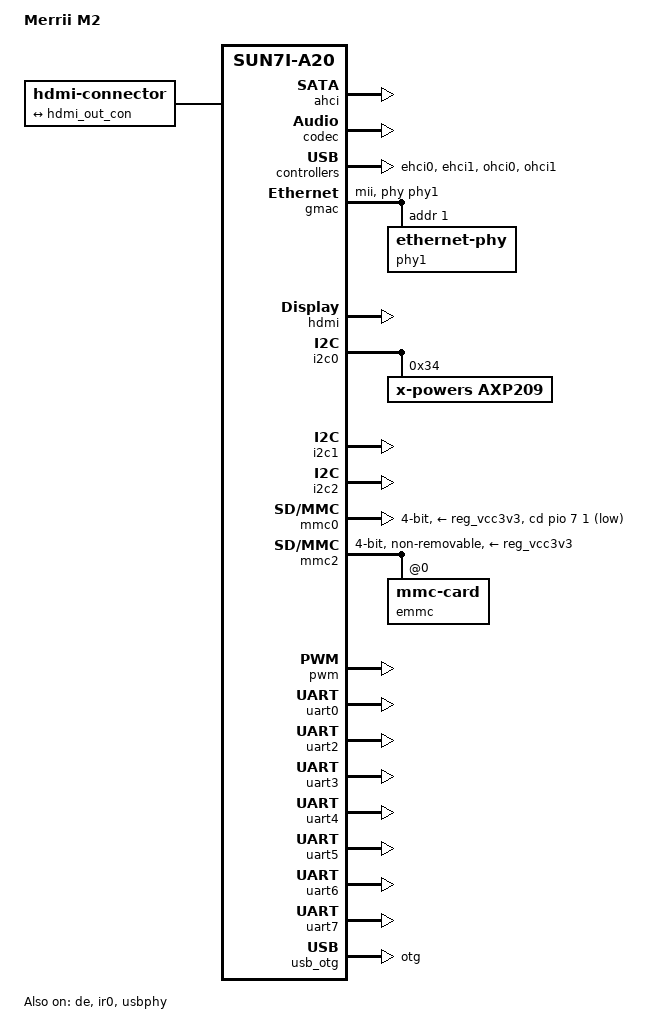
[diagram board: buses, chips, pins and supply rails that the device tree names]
/dts-v1/;
#include "sun7i-a20.dtsi"
#include "sunxi-common-regulators.dtsi"

#include <dt-bindings/gpio/gpio.h>
#include <dt-bindings/interrupt-controller/irq.h>

/ {
	model = "Merrii M2";
	compatible = "merrii,m2", "allwinner,sun7i-a20";

	aliases {
		serial0 = &uart0;
	};

	chosen {
		stdout-path = "serial0:115200n8";
	};

	hdmi-connector {
		compatible = "hdmi-connector";
		type = "a";

		port {
			hdmi_con_in: endpoint {
				remote-endpoint = <&hdmi_out_con>;
			};
		};
	};
/*
	sound {
		compatible = "simple-audio-card";
		simple-audio-card,name = "On-board SPDIF";

		simple-audio-card,cpu {
			sound-dai = <&spdif>;
		};

		simple-audio-card,codec {
			sound-dai = <&spdif_out>;
		};
	};

	spdif_out: spdif-out {
		#sound-dai-cells = <0>;
		compatible = "linux,spdif-dit";
	};
*/

};

&cpu0 {
	operating-points = <
	/* kHz	  uV */
	1080000	1450000
	912000	1400000
	864000	1300000
	792000	1250000
	720000	1200000
	624000	1150000
	528000	1100000
	312000	1050000
	>;
};

&cpu1 {
	operating-points = <
	/* kHz	  uV */
	1080000	1450000
	912000	1400000
	864000	1300000
	792000	1250000
	720000	1200000
	624000	1150000
	528000	1100000
	312000	1050000
	>;
};

&ahci {
	target-supply = <&reg_ahci_5v>;
	status = "okay";
};

&de {
	status = "okay";
};

&codec {
	allwinner,pa = <&pio 7 25 GPIO_ACTIVE_HIGH>;
	allwinner,pa-gpios = <&pio 7 25 GPIO_ACTIVE_HIGH>;
	status = "okay";
};

&ehci0 {
	status = "okay";
};

&ehci1 {
	status = "okay";
};

&otg_sram {
	status = "okay";
};

&gmac {
	pinctrl-names = "default";
	pinctrl-0 = <&gmac_mii_pins>;
	phy = <&phy1>;
	phy-mode = "mii";
	status = "okay";
};

&gmac {
        phy1: ethernet-phy@1 {
                reg = <1>;
        };
};

&hdmi {
	status = "okay";
};

&hdmi_out {
	hdmi_out_con: endpoint {
		remote-endpoint = <&hdmi_con_in>;
	};
};

/* I2C
* NO: SCL,	SDA
*  0: PB00, PB01
*  1: PB18, PB19
*  2: PB20, PB21
*  3: PI00, PI01
*  4: PI02, PI03
*/

&pio {
	/omit-if-no-ref/
	i2c4_pins: i2c4-pins {
		pins = "PI2", "PI3";
		function = "i2c4";
	};
};

&i2c0 {
	status = "okay";

	axp209: pmic@34 {
		compatible = "x-powers,axp209";
		reg = <0x34>;
		interrupt-parent = <&nmi_intc>;
		interrupts = <0 IRQ_TYPE_LEVEL_LOW>;

		interrupt-controller;
		#interrupt-cells = <1>;
	};
};

&i2c1 {
	status = "okay";
};

// touch screen
&i2c2 {
	status = "okay";
};

/*
&i2c3 {
	status = "okay";
};

&i2c4 {
	pinctrl-0 = <&i2c4_pins>;
	status = "okay";
};
*/

/*
// PH02 IRQ_TYPE_LEVEL_LOW / GPIO_ACTIVE_LOW
#include "axp209.dtsi"

&ac_power_supply {
	status = "okay";
};

/*
&i2s2 {
	status = "okay";
};
*/

// maybe useful for i2s2
/*
&spi2 {
	pinctrl-names = "default";
	pinctrl-0 = <&spi2_pb_pins>,
		    <&spi2_cs0_pb_pin>;
	status = "okay";
};
*/

&ir0 {
	pinctrl-names = "default";
	pinctrl-0 = <&ir0_rx_pin>;
	status = "okay";
};

&mmc0 {
	vmmc-supply = <&reg_vcc3v3>;
	bus-width = <4>;
	cd-gpios = <&pio 7 1 GPIO_ACTIVE_LOW>; /* PH1 */
	status = "okay";
};

&mmc2 {
	vmmc-supply = <&reg_vcc3v3>;
	vqmmc-supply = <&reg_vcc3v3>;
	bus-width = <4>;
	non-removable;
	// mmc-pwrseq = <&mmc2_pwrseq>;
	status = "okay";

	emmc: emmc@0 {
		reg = <0>;
		compatible = "mmc-card";
		broken-hpi;
	};
};

&pwm {
      pinctrl-names = "default";
      pinctrl-0 = <&pwm0_pin>, <&pwm1_pin>;
      status = "okay";
};

&ohci0 {
	status = "okay";
};

&ohci1 {
	status = "okay";
};

&reg_ahci_5v {
	gpio = <&pio 7 12 GPIO_ACTIVE_HIGH>;
	status = "okay";
};

&reg_usb1_vbus {
	status = "okay";
};

&reg_usb2_vbus {
	status = "okay";
};

/*
&spdif {
	pinctrl-names = "default";
	pinctrl-0 = <&spdif_tx_pin>;
	status = "disabled";
};
*/

/* UART
* NO: TX,	RX	, RTS,	CTS
*  0: PB22, PB23
*  1: 
*  2: PI18, PI19
*  3: PG06, PG07, PG08, PG09
*  4: PG10, PG11
*  5: PI10, PI11
*  6: PI12, PI13
*/

&uart0 {
	pinctrl-names = "default";
	pinctrl-0 = <&uart0_pb_pins>;
	status = "okay";
};

// SP3485E: DI, RO
&uart2 {
	pinctrl-names = "default";
	pinctrl-0 = <&uart2_pi_pins>;
	status = "okay";
};

&uart3 {
	pinctrl-names = "default";
	pinctrl-0 = <&uart3_pg_pins>, <&uart3_cts_rts_pg_pins>;
	status = "okay";
};

&uart4 {
	pinctrl-names = "default";
	pinctrl-0 = <&uart4_pg_pins>;
	status = "okay";
};

// MAX3232: T1, R1
&uart5 {
	pinctrl-names = "default";
	pinctrl-0 = <&uart5_pi_pins>;
	status = "okay";
};

// MAX3232: T2, R2
&uart6{
	pinctrl-names = "default";
	pinctrl-0 = <&uart6_pi_pins>;
	status = "okay";
};


// maybe used for 3g module
&uart7 {
	pinctrl-names = "default";
	pinctrl-0 = <&uart7_pi_pins>;
	status = "okay";
};


&usb_otg {
	dr_mode = "otg";
	status = "okay";
};

&usbphy {
	usb1_vbus-supply = <&reg_usb1_vbus>;
	usb2_vbus-supply = <&reg_usb2_vbus>;
	status = "okay";
};

/* GPIO
*  PI05, I/O
*  PI06, I/O
*  PI07, I/O
*  PI08, I/O
*  PI09, I/O
*  PH07, LVDS-BL:O/F
*  PH08, LVDS-DSATA:VCC
*  PH21, RTP/CTP:X-/INT
*  PB13, RTP/CTP:Y+/WAKE
*  PH24, LED
*  PB04, IR
*/
